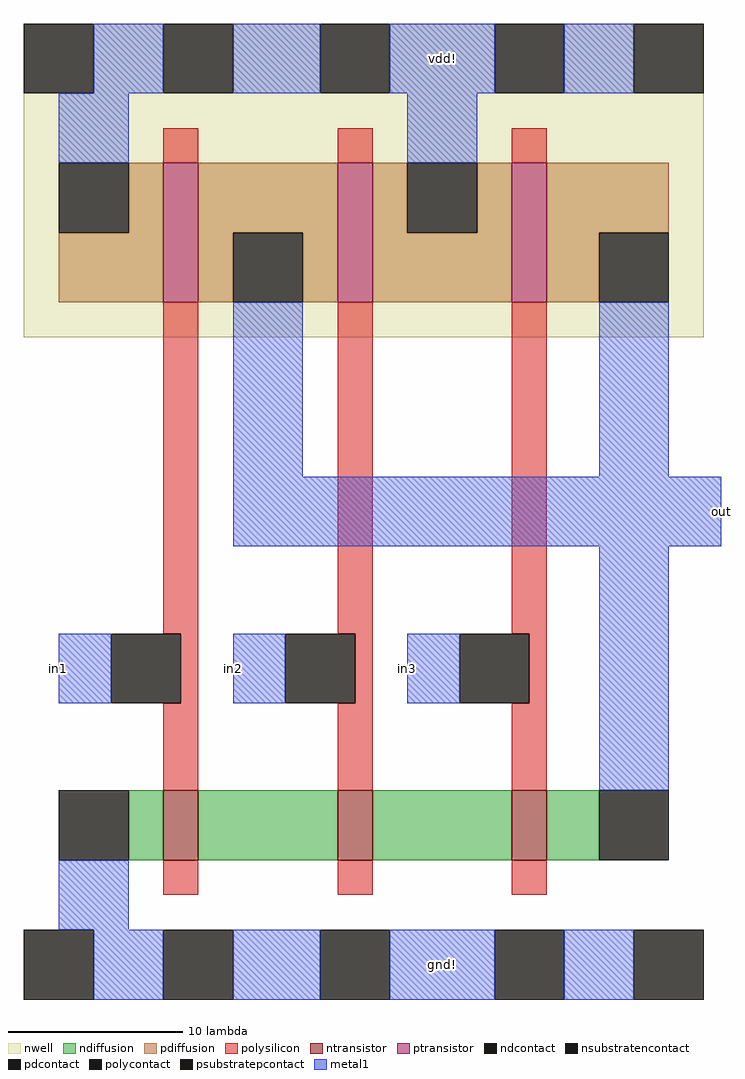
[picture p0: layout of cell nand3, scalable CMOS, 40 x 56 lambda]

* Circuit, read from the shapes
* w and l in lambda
.subckt nand3 gnd! in1 in2 in3 out vdd!
M1 n1 in1 gnd! gnd! nfet w=4 l=2
M2 n2 in2 n1 gnd! nfet w=4 l=2
M3 out in3 n2 gnd! nfet w=4 l=2
M4 out in1 vdd! vdd! pfet w=8 l=2
M5 vdd! in2 out vdd! pfet w=8 l=2
M6 out in3 vdd! vdd! pfet w=8 l=2
.ends

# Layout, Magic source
magic
tech scmos
<< nwell >>
rect -3 1 36 19
<< polysilicon >>
rect 5 11 7 13
rect 15 11 17 13
rect 25 11 27 13
rect 5 -16 7 3
rect 15 -16 17 3
rect 25 -16 27 3
rect 6 -20 7 -16
rect 16 -20 17 -16
rect 26 -20 27 -16
rect 5 -25 7 -20
rect 15 -25 17 -20
rect 25 -25 27 -20
rect 5 -31 7 -29
rect 15 -31 17 -29
rect 25 -31 27 -29
<< ndiffusion >>
rect 3 -29 5 -25
rect 7 -29 15 -25
rect 17 -29 25 -25
rect 27 -29 30 -25
<< pdiffusion >>
rect 3 7 5 11
rect -1 3 5 7
rect 7 7 15 11
rect 7 3 9 7
rect 13 3 15 7
rect 17 7 19 11
rect 23 7 25 11
rect 17 3 25 7
rect 27 7 34 11
rect 27 3 30 7
<< metal1 >>
rect 1 15 5 19
rect 9 15 14 19
rect 18 15 24 19
rect 28 15 32 19
rect -1 11 3 15
rect 19 11 23 15
rect 9 -7 13 3
rect 30 -7 34 3
rect 9 -11 37 -7
rect -1 -20 2 -16
rect 9 -20 12 -16
rect 19 -20 22 -16
rect 30 -25 34 -11
rect -1 -33 3 -29
rect 1 -37 5 -33
rect 9 -37 14 -33
rect 18 -37 24 -33
rect 28 -37 32 -33
<< ntransistor >>
rect 5 -29 7 -25
rect 15 -29 17 -25
rect 25 -29 27 -25
<< ptransistor >>
rect 5 3 7 11
rect 15 3 17 11
rect 25 3 27 11
<< polycontact >>
rect 2 -20 6 -16
rect 12 -20 16 -16
rect 22 -20 26 -16
<< ndcontact >>
rect -1 -29 3 -25
rect 30 -29 34 -25
<< pdcontact >>
rect -1 7 3 11
rect 9 3 13 7
rect 19 7 23 11
rect 30 3 34 7
<< psubstratepcontact >>
rect -3 -37 1 -33
rect 5 -37 9 -33
rect 14 -37 18 -33
rect 24 -37 28 -33
rect 32 -37 36 -33
<< nsubstratencontact >>
rect -3 15 1 19
rect 5 15 9 19
rect 14 15 18 19
rect 24 15 28 19
rect 32 15 36 19
<< labels >>
rlabel metal1 21 17 21 17 5 vdd!
rlabel metal1 21 -35 21 -35 1 gnd!
rlabel metal1 -1 -20 -1 -16 3 in1
rlabel metal1 9 -20 9 -16 1 in2
rlabel metal1 19 -20 19 -16 1 in3
rlabel metal1 37 -11 37 -7 7 out
<< end >>
